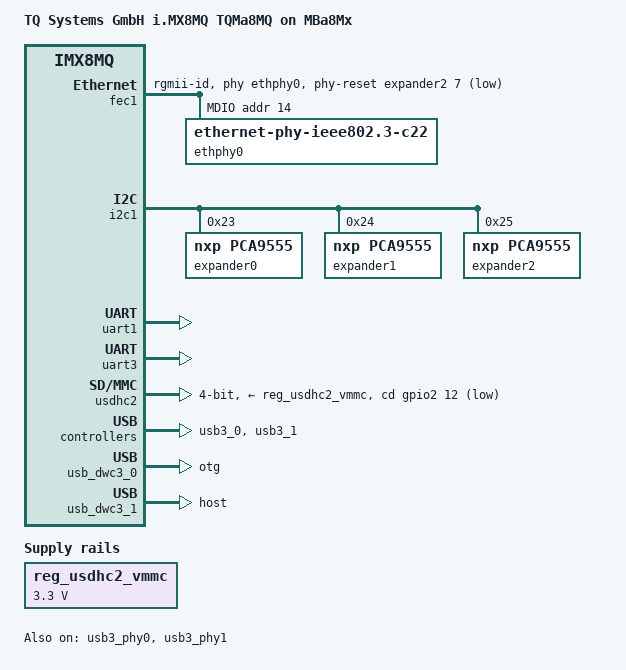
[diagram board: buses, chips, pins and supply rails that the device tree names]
// SPDX-License-Identifier: GPL-2.0+
/*
 * Copyright 2019 - 2020 TQ Systems GmbH
 */

/dts-v1/;

#include "fsl-imx8mq-tqma8mq.dtsi"
#include <dt-bindings/net/ti-dp83867.h>

/ {
	model = "TQ Systems GmbH i.MX8MQ TQMa8MQ on MBa8Mx";
	compatible = "tq,imx8mq-mba8mx", "tq,imx8mq-tqma8mq", "fsl,imx8mq";

	chosen {
		bootargs = "console=ttymxc2,115200 earlycon=ec_imx6q,0x30880000,115200";
		stdout-path = &uart3;
	};

	reg_usdhc2_vmmc: regulator-vmmc {
		compatible = "regulator-fixed";
		regulator-name = "VSD_3V3";
		regulator-min-microvolt = <3300000>;
		regulator-max-microvolt = <3300000>;
	};
};

&fec1 {
	pinctrl-names = "default";
	pinctrl-0 = <&pinctrl_fec1>;
	phy-mode = "rgmii-id";
	phy-handle = <&ethphy0>;
	fsl,magic-packet;
	phy-reset-gpios = <&expander2 7 GPIO_ACTIVE_LOW>;
	phy-reset-duration = <500>;
	status = "okay";

	mdio {
		#address-cells = <1>;
		#size-cells = <0>;

		ethphy0: ethernet-phy@e {
			compatible = "ethernet-phy-ieee802.3-c22";
			reg = <0xe>;
			ti,rx-internal-delay = <DP83867_RGMIIDCTL_2_50_NS>;
			ti,tx-internal-delay = <DP83867_RGMIIDCTL_2_50_NS>;
			ti,fifo-depth = <DP83867_PHYCR_FIFO_DEPTH_4_B_NIB>;
			ti,dp83867-rxctrl-strap-quirk;
			ti,clk-output-sel = <DP83867_CLK_O_SEL_OFF>;
			enet-phy-lane-no-swap;
			/* LED0: Link, LED2: activity */
			ti,led-function = <0x0100>;
			/* active low, LED0/2 driven by phy */
			ti,led-ctrl = <0x1010>;
		};
	};
};

&iomuxc {
	pinctrl-names = "default";
	pinctrl-0 = <&pinctrl_gpioled>, <&pinctrl_gpiobutton>, <&pinctrl_wdog>;

	pinctrl_fec1: fec1grp {
		fsl,pins = <
			MX8MQ_IOMUXC_ENET_MDC_ENET1_MDC		0x3
			MX8MQ_IOMUXC_ENET_MDIO_ENET1_MDIO	0x23
			MX8MQ_IOMUXC_ENET_TD3_ENET1_RGMII_TD3	0x1f
			MX8MQ_IOMUXC_ENET_TD2_ENET1_RGMII_TD2	0x1f
			MX8MQ_IOMUXC_ENET_TD1_ENET1_RGMII_TD1	0x1f
			MX8MQ_IOMUXC_ENET_TD0_ENET1_RGMII_TD0	0x1f
			MX8MQ_IOMUXC_ENET_RD3_ENET1_RGMII_RD3	0x91
			MX8MQ_IOMUXC_ENET_RD2_ENET1_RGMII_RD2	0x91
			MX8MQ_IOMUXC_ENET_RD1_ENET1_RGMII_RD1	0x91
			MX8MQ_IOMUXC_ENET_RD0_ENET1_RGMII_RD0	0x91
			MX8MQ_IOMUXC_ENET_TXC_ENET1_RGMII_TXC	0x1f
			MX8MQ_IOMUXC_ENET_RXC_ENET1_RGMII_RXC	0x91
			MX8MQ_IOMUXC_ENET_RX_CTL_ENET1_RGMII_RX_CTL	0x91
			MX8MQ_IOMUXC_ENET_TX_CTL_ENET1_RGMII_TX_CTL	0x1f
		>;
	};

	pinctrl_gpiobutton: gpiobuttongrp {
		fsl,pins = <
			MX8MQ_IOMUXC_GPIO1_IO05_GPIO1_IO5		0x41
			MX8MQ_IOMUXC_GPIO1_IO07_GPIO1_IO7		0x41
			MX8MQ_IOMUXC_NAND_WE_B_GPIO3_IO17		0x41
		>;
	};

	pinctrl_gpioled: gpioledgrp {
		fsl,pins = <
			MX8MQ_IOMUXC_GPIO1_IO00_GPIO1_IO0		0x41
			MX8MQ_IOMUXC_GPIO1_IO08_GPIO1_IO8		0x41
			MX8MQ_IOMUXC_NAND_READY_B_GPIO3_IO16		0x41
		>;
	};

	pinctrl_i2c2: i2c2grp {
		fsl,pins = <
			MX8MQ_IOMUXC_I2C2_SCL_I2C2_SCL			0x4000007f
			MX8MQ_IOMUXC_I2C2_SDA_I2C2_SDA			0x4000007f
		>;
	};

	pinctrl_uart1: uart1grp {
		fsl,pins = <
			MX8MQ_IOMUXC_UART1_RXD_UART1_DCE_RX		0x79
			MX8MQ_IOMUXC_UART1_TXD_UART1_DCE_TX		0x79
		>;
	};

	pinctrl_uart3: uart3grp {
		fsl,pins = <
			MX8MQ_IOMUXC_UART3_RXD_UART3_DCE_RX		0x79
			MX8MQ_IOMUXC_UART3_TXD_UART3_DCE_TX		0x79
		>;
	};

	pinctrl_usb0: usb0grp {
		fsl,pins = <
			/* ID */
			MX8MQ_IOMUXC_GPIO1_IO10_GPIO1_IO10		0x41
			/* PWR */
			MX8MQ_IOMUXC_GPIO1_IO12_GPIO1_IO12		0x06
/* TODO: OC detection not functional in dwc3, pin mux will lead to non functional USB */
/*			MX8MQ_IOMUXC_GPIO1_IO13_USB1_OTG_OC		0x41 */
		>;
	};

	pinctrl_usdhc2_gpio: usdhc2grpgpio {
		fsl,pins = <
			MX8MQ_IOMUXC_SD2_CD_B_GPIO2_IO12	0x41
		>;
	};

	pinctrl_usdhc2: usdhc2grp {
		fsl,pins = <
			MX8MQ_IOMUXC_SD2_CLK_USDHC2_CLK			0x83
			MX8MQ_IOMUXC_SD2_CMD_USDHC2_CMD			0xc3
			MX8MQ_IOMUXC_SD2_DATA0_USDHC2_DATA0		0xc3
			MX8MQ_IOMUXC_SD2_DATA1_USDHC2_DATA1		0xc3
			MX8MQ_IOMUXC_SD2_DATA2_USDHC2_DATA2		0xc3
			MX8MQ_IOMUXC_SD2_DATA3_USDHC2_DATA3		0xc3
			MX8MQ_IOMUXC_GPIO1_IO04_USDHC2_VSELECT		0xc1
		>;
	};

	pinctrl_usdhc2_100mhz: usdhc2grp100mhz {
		fsl,pins = <
			MX8MQ_IOMUXC_SD2_CLK_USDHC2_CLK			0x85
			MX8MQ_IOMUXC_SD2_CMD_USDHC2_CMD			0xc5
			MX8MQ_IOMUXC_SD2_DATA0_USDHC2_DATA0		0xc5
			MX8MQ_IOMUXC_SD2_DATA1_USDHC2_DATA1		0xc5
			MX8MQ_IOMUXC_SD2_DATA2_USDHC2_DATA2		0xc5
			MX8MQ_IOMUXC_SD2_DATA3_USDHC2_DATA3		0xc5
			MX8MQ_IOMUXC_GPIO1_IO04_USDHC2_VSELECT		0xc1
		>;
	};

	pinctrl_usdhc2_200mhz: usdhc2grp200mhz {
		fsl,pins = <
			MX8MQ_IOMUXC_SD2_CLK_USDHC2_CLK			0x9f
			MX8MQ_IOMUXC_SD2_CMD_USDHC2_CMD			0xc7
			MX8MQ_IOMUXC_SD2_DATA0_USDHC2_DATA0		0xc7
			MX8MQ_IOMUXC_SD2_DATA1_USDHC2_DATA1		0xc7
			MX8MQ_IOMUXC_SD2_DATA2_USDHC2_DATA2		0xc7
			MX8MQ_IOMUXC_SD2_DATA3_USDHC2_DATA3		0xc7
			MX8MQ_IOMUXC_GPIO1_IO04_USDHC2_VSELECT		0xc1
		>;
	};
};

&i2c1 {
	expander0: gpio@23 {
		compatible = "nxp,pca9555";
		reg = <0x23>;
		gpio-controller;
		#gpio-cells = <2>;
	};

	expander1: gpio@24 {
		compatible = "nxp,pca9555";
		reg = <0x24>;
		gpio-controller;
		#gpio-cells = <2>;
	};

	expander2: gpio@25 {
		compatible = "nxp,pca9555";
		reg = <0x25>;
		gpio-controller;
		#gpio-cells = <2>;
	};
};

&i2c2 {
	clock-frequency = <100000>;
	pinctrl-names = "default";
	pinctrl-0 = <&pinctrl_i2c2>;
	status = "disabled";
};

&uart1 {
	pinctrl-names = "default";
	pinctrl-0 = <&pinctrl_uart1>;
	assigned-clocks = <&clk IMX8MQ_CLK_UART1_SRC>;
	assigned-clock-parents = <&clk IMX8MQ_CLK_25M>;
	status = "okay";
};

/* console */
&uart3 {
	pinctrl-names = "default";
	pinctrl-0 = <&pinctrl_uart3>;
	assigned-clocks = <&clk IMX8MQ_CLK_UART3_SRC>;
	assigned-clock-parents = <&clk IMX8MQ_CLK_25M>;
	status = "okay";
};

&usdhc2 {
	pinctrl-names = "default", "state_100mhz", "state_200mhz";
	pinctrl-0 = <&pinctrl_usdhc2>, <&pinctrl_usdhc2_gpio>;
	pinctrl-1 = <&pinctrl_usdhc2_100mhz>, <&pinctrl_usdhc2_gpio>;
	pinctrl-2 = <&pinctrl_usdhc2_200mhz>, <&pinctrl_usdhc2_gpio>;
	bus-width = <4>;
	cd-gpios = <&gpio2 12 GPIO_ACTIVE_LOW>;
	disable-wp;
	/* we have VSELECT but no working reset, so disable UHS */
	no-1-8-v;
	vmmc-supply = <&reg_usdhc2_vmmc>;
	status = "okay";
};

&usb3_phy0 {
	status = "okay";
};

&usb3_0 {
	pinctrl-names = "default";
	pinctrl-0 = <&pinctrl_usb0>;
	status = "okay";
};

&usb_dwc3_0 {
	status = "okay";
	/* TODO: overwritten by driver */
	dr_mode = "otg";
};

&usb3_phy1 {
	status = "okay";
};

&usb3_1 {
	status = "okay";
};

&usb_dwc3_1 {
	status = "okay";
	dr_mode = "host";
};
